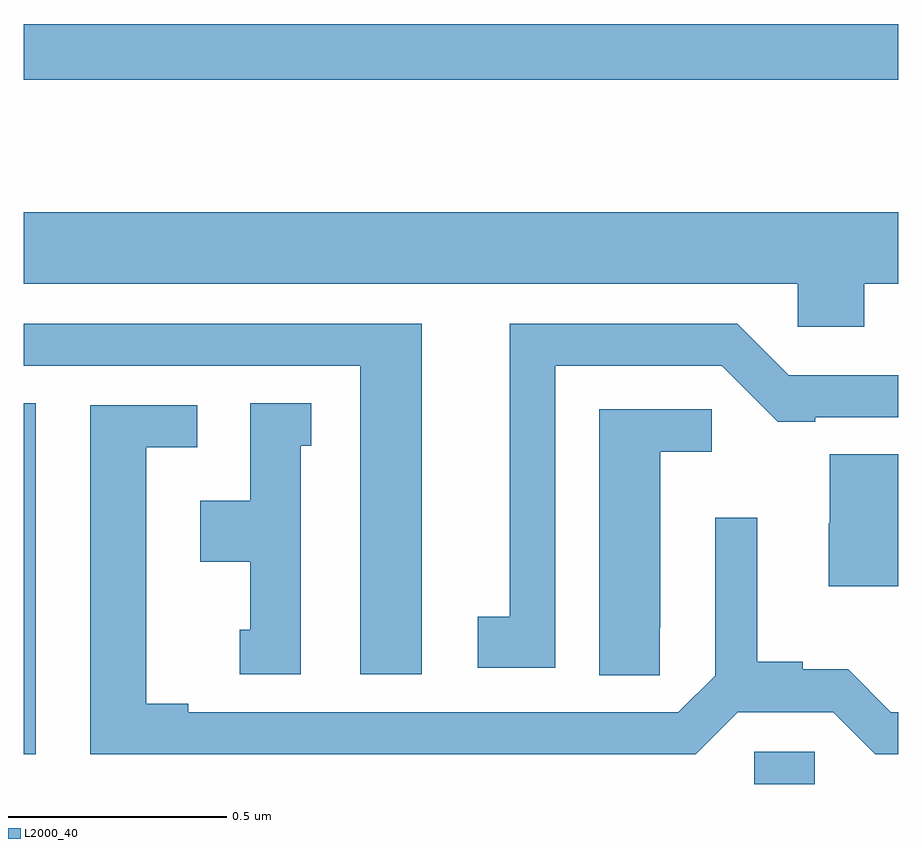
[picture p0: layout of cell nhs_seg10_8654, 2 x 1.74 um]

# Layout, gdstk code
import gdstk
lib = gdstk.Library(unit=1e-6, precision=1e-09)
def R(c, l, rs):  # rectangles x0, y0, x1, y1
    for r in rs: c.add(gdstk.rectangle(r[:2], r[2:], *l))
def P(c, l, *ps):  # polygons
    for p in ps: c.add(gdstk.Polygon(p, *l))
L2000_40 = (2000, 40)

nhs_seg10_8654 = lib.new_cell('nhs_seg10_8654')
R(nhs_seg10_8654, L2000_40, [(220.671,1304.5,220.809,1304.574), (219,1304.568,219.028,1305.371), (219,1306.11,221,1306.238)])
P(nhs_seg10_8654, L2000_40, [(220.922,1305.644),(221,1305.644),(221,1305.808),(219,1305.808),(219,1305.644),(220.77,1305.644),(220.77,1305.546),(220.922,1305.546)],
  [(219.91,1305.552),(219,1305.552),(219,1305.456),(219.77,1305.456),(219.77,1304.751),(219.91,1304.751)],
  [(220.216,1305.456),(220.596,1305.456),(220.724,1305.328),(220.81,1305.328),(220.81,1305.339),(221,1305.339),(221,1305.435),(220.749,1305.435),(220.632,1305.552),(220.112,1305.552),(220.112,1304.882),(220.038,1304.882),(220.038,1304.766),(220.216,1304.766)],
  [(219.634,1305.273),(219.658,1305.273),(219.658,1305.371),(219.518,1305.371),(219.518,1305.148),(219.404,1305.148),(219.404,1305.008),(219.518,1305.008),(219.518,1304.853),(219.494,1304.853),(219.494,1304.751),(219.634,1304.751)],
  [(220.633,1304.664),(220.851,1304.664),(220.947,1304.568),(221,1304.568),(221,1304.664),(220.983,1304.664),(220.886,1304.762),(220.782,1304.762),(220.782,1304.78),(220.678,1304.78),(220.678,1305.109),(220.581,1305.109),(220.581,1304.748),(220.497,1304.664),(219.376,1304.664),(219.376,1304.684),(219.28,1304.684),(219.28,1305.27),(219.397,1305.27),(219.397,1305.366),(219.152,1305.366),(219.152,1304.568),(220.537,1304.568)],
  [(220.455,1304.857),(220.456,1304.857),(220.456,1305.26),(220.573,1305.26),(220.573,1305.357),(220.316,1305.357),(220.316,1304.749),(220.455,1304.749)],
  [(221,1305.254),(220.843,1305.254),(220.843,1305.096),(220.841,1305.096),(220.841,1304.952),(221,1304.952)])

lib.write_gds('nhs_seg10_8654.gds')
